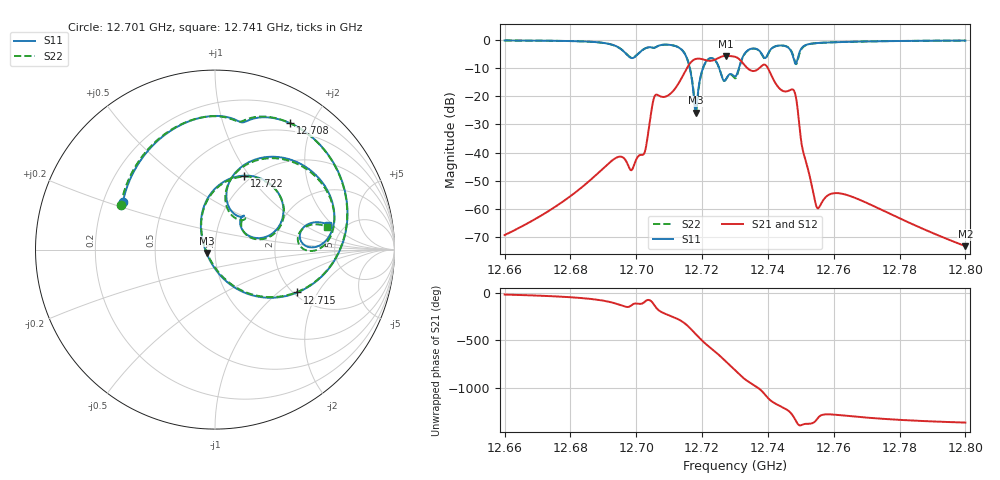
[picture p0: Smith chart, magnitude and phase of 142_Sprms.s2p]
! TOUCHSTONE file generated by CST MICROWAVE STUDIO
! Date and time: Wed Jul 31 17:59:23 2024
! Project name: WaveGuide_BPF-Ver4.1_U-shape_Ku_T3_C4_CWA_2.cst
! Parameters = {cavity_h=16; cavity_l0=10; cavity_l1=15.1871; cavity_l2=16.8843; cavity_l3=17.1253; cavity_l4=17.2548; cavity_l5=17.1291; cavity_l6=17.6206; cavity_r=2.5; cavity_screw_l=0.5; cavity_screw_r=1.5; cavity_w=8; iris_h00=0; iris_h01=8.8099; iris_h112=0; iris_h12=5.5983; iris_h211=3.6564; 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
! Header version: 2018
! Port assignment regex: !\s*Touchstone port\s*([0-9]+)\s*=\s*(CST MWS port|CST DS port)\s*([0-9]+|Zmin|Zmax)\s*\(\"(.*)\"\)(\s*mode\s*([0-9]+))?.*
! Touchstone port assignment:
! Touchstone port 1 = CST MWS port 1 ("")
! Touchstone port 2 = CST MWS port 2 ("")
# GHz S RI R 50
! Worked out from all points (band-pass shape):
!   5001 points, 12.66 GHz to 12.8 GHz, reference 50 ohm
!   highest |S21| = -5.64 dB at 12.727 GHz (marker M1); lowest = -73.2 dB at 12.8 GHz (marker M2)
!   |S21| within 3 dB of the highest: 12.71611 GHz to 12.7327 GHz (16.59 MHz wide, 0.13 % of centre)
!   lowest |S11| = -25.9 dB at 12.718 GHz (marker M3), VSWR 1.11, Z = 45.5 - j1.78 ohm
!   |S11| at or under -10 dB: 12.71626 GHz to 12.72025 GHz (3.995 MHz wide, 0.0314 % of centre); 12.72519 GHz to 12.73117 GHz (5.974 MHz wide, 0.0469 % of centre)
!   |S22| runs from -26.3 to -0.2 dB; largest |S21 - S12| = 1e-09
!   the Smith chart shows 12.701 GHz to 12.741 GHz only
!   S11 on the Smith chart (normalised r, x): 12.701 GHz: 0.28, +0.22; 12.708 GHz: 0.39, +1.69; 12.715 GHz: 2.10, -1.37; 12.722 GHz: 0.92, +0.95; 12.741 GHz: 3.74, +1.78
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12.66  0.2655 0.9453  0.000321 -0.000119  0.000321 -0.000119  0.2723 0.9432
12.68335  0.7125 0.6236  0.0013 -0.00201  0.0013 -0.00201  0.7218 0.6117
12.69242  0.8333 -0.0181  -0.00144 -0.00691  -0.00144 -0.00691  0.831 -0.0419
12.69671  0.22 -0.5417  -0.00624 -0.00397  -0.00624 -0.00397  0.2059 -0.5534
12.70068  -0.5136 0.265  -0.00396 -0.00776  -0.00396 -0.00776  -0.5255 0.2476
12.70668  0.2766 0.7374  -0.1045 0.00056  -0.1045 0.00056  0.2634 0.7415
12.70777  0.4179 0.7044  -0.0887 0.0414  -0.0887 0.0414  0.4062 0.71
12.7151  0.4592 -0.2386  0.26 0.1395  0.26 0.1395  0.4708 -0.2306
12.71802  -0.0471 -0.0195  0.1448 -0.4363  0.1448 -0.4363  -0.039 -0.0313
12.72163  0.1642 0.4121  -0.4217 0.085  -0.4217 0.085  0.1678 0.4071
12.72474  0.3487 0.1186  0.0802 0.4656  0.0802 0.4656  0.3506 0.1097
12.72728  0.1401 0.1463  0.5221 -0.0138  0.5221 -0.0138  0.1462 0.1387
12.73  0.1165 0.1923  0.00451 -0.5042  0.00451 -0.5042  0.1164 0.1734
12.73227  0.1517 0.4641  -0.3813 -0.1092  -0.3813 -0.1092  0.1471 0.4552
12.73655  0.6648 0.1964  -0.0311 0.2897  -0.0311 0.2897  0.6652 0.1762
12.74056  0.6302 0.1389  0.2117 -0.1707  0.2117 -0.1707  0.6256 0.1261
12.74588  0.5415 -0.5249  -0.101 -0.07  -0.101 -0.07  0.5299 -0.5441
12.74803  0.2261 -0.354  -0.0767 0.0949  -0.0767 0.0949  0.2024 -0.3982
12.75335  0.378 -0.7765  0.000676 0.00246  0.000676 0.00246  0.3523 -0.7867
12.7552  0.2081 -0.8598  -0.000669 0.000775  -0.000669 0.000775  0.1788 -0.8662
12.77668  -0.8695 -0.3961  -0.000392 0.000743  -0.000392 0.000743  -0.8783 -0.3785
12.8  -0.9624 0.1759  2.88e-05 0.000216  2.88e-05 0.000216  -0.9608 0.1867
